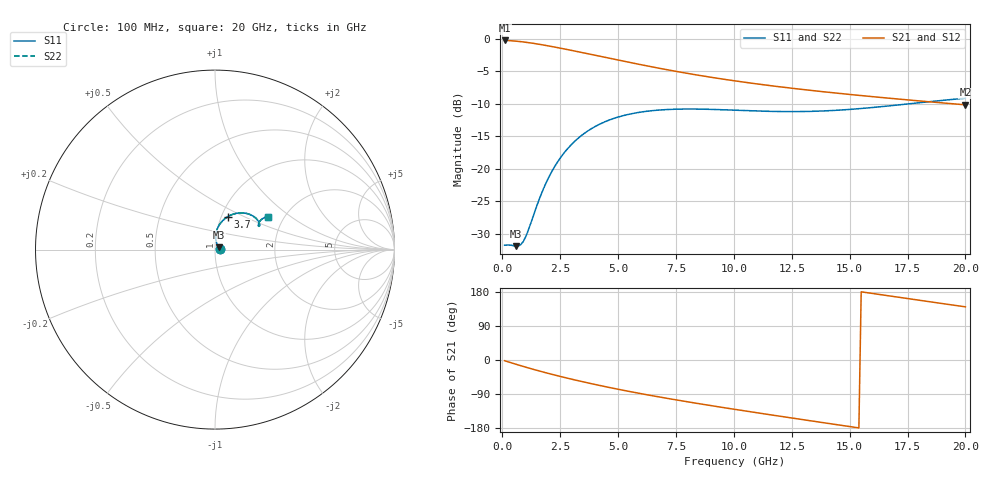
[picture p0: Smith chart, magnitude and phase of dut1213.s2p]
! Touchstone file exported from HFSS 2024.1.0
!  File:  C:/UserFiles/LocalFiles/RDL_TSV_Batchsim/temp_RDL_TSV_1213_1780259894.aedt
!  Generated:  04:55:16 AM Jun  1, 2026
!  Design:  RDL_TSV
!  Project:  temp_RDL_TSV_1213_1780259894
!  Setup:  Setup1
!  Solution:  Sweep
! Variables:
!  dtsv = 12.84um
!  hbump = 3um
!  htsv = 75.7um
!  ldown = 535.56um
!  lrdl = 326.49um
!  p = 40
!  p1 = 43.03um
!  rhole = 10um
!  subl = 2912.64um
!  t = 450um
!  tdown = 3.11um
!  trdl = 3.13um
!  viad = 10um
!  wdown = 11.98um
!  wrdl = 13.34um
!  xbump = 18um
# GHz S MA R 50.000000
! Terminal data exported
! Port[1] = TM1_1_T1
! Port[2] = TM1_4_T1
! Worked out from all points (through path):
!   200 points, 100 MHz to 20 GHz, reference 50 ohm
!   highest |S21| = -0.23 dB at 100 MHz (marker M1); lowest = -10.1 dB at 20 GHz (marker M2)
!   group delay of S21, straight-line fit = 28.7 ps
!   lowest |S11| = -31.9 dB at 600 MHz (marker M3), VSWR 1.05, Z = 52.2 + j1.36 ohm
!   |S11| at or under -10 dB: start of sweep to 17.52 GHz
!   |S22| runs from -31.9 to -9.1 dB; largest |S21 - S12| = 8.6e-14
!   S11 on the Smith chart (normalised r, x): 100 MHz: 1.05, +0.00; 3.7 GHz: 1.07, +0.41; 20 GHz: 1.67, +0.70
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0.1  0.02585 4.9  0.9737 -1.9  0.9737 -1.9  0.02585 4.9
! Gamma 0 0 0 0
! Port Impedance 50 0 50 0
0.6  0.02542 30.9  0.9616 -11.4  0.9616 -11.4  0.02542 30.9
0.8  0.02616 46.1  0.9535 -15.1  0.9535 -15.1  0.02616 46.1
1  0.02977 62.0  0.944 -18.7  0.944 -18.7  0.02978 62.0
1.7  0.06509 86.6  0.9033 -30.7  0.9033 -30.7  0.06514 86.6
2  0.0856 86.9  0.8837 -35.6  0.8837 -35.6  0.08567 86.8
2.3  0.1069 85.0  0.8636 -40.3  0.8636 -40.3  0.107 85.0
2.9  0.1484 78.6  0.8229 -49.3  0.8229 -49.3  0.1484 78.6
3.5  0.1853 71.3  0.7825 -57.8  0.7825 -57.8  0.1854 71.3
3.7  0.1963 68.9  0.7693 -60.5  0.7693 -60.5  0.1964 68.9
4.3  0.225 62.0  0.7308 -68.4  0.7308 -68.4  0.2251 62.0
5  0.2505 54.8  0.6883 -77.2  0.6883 -77.2  0.2506 54.7
5.9  0.2722 46.9  0.6382 -87.8  0.6382 -87.8  0.2722 46.8
6.8  0.284 40.5  0.5938 -97.8  0.5938 -97.8  0.2839 40.4
8.4  0.2886 32.6  0.5282 -114.4  0.5282 -114.4  0.2885 32.6
10.1  0.2827 28.5  0.4742 -130.8  0.4742 -130.8  0.2826 28.5
11.7  0.2768 27.9  0.4345 -145.7  0.4345 -145.7  0.2767 27.9
13.4  0.2774 29.4  0.4005 -161.2  0.4005 -161.2  0.2772 29.4
15  0.2868 31.5  0.374 -175.6  0.374 -175.6  0.2867 31.5
16.7  0.3054 32.9  0.3499 169.2  0.3499 169.2  0.3053 32.9
18.4  0.3284 32.9  0.3288 154.2  0.3288 154.2  0.3283 32.9
20  0.3498 31.6  0.3113 140.3  0.3113 140.3  0.3498 31.6
